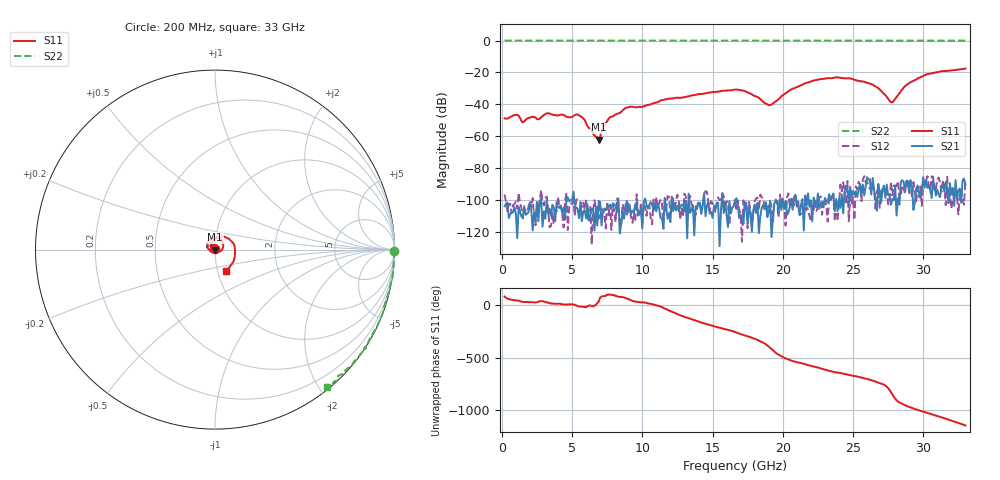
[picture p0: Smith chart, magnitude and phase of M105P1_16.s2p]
# GHZ S RI R 50
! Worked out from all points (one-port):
!   329 points, 200 MHz to 33 GHz, reference 50 ohm
!   lowest |S11| = -62.1 dB at 6.9 GHz (marker M1), VSWR 1.00, Z = 50.1 + j0.0421 ohm
!   |S11| at or under -10 dB: start of sweep to end of sweep
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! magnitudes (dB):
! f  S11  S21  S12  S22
! 200 MHz  -48.8  -103.9  -96.5  0.0
! 1.1 GHz  -46.6  -123.8  -105.2  0.0
! 1.5 GHz  -51.3  -111.0  -111.6  0.0
! 3.3 GHz  -45.5  -108.9  -106.0  0.0
! 5.7 GHz  -48.0  -113.2  -104.4  0.0
! 6.9 GHz  -62.1  -100.5  -111.5  0.0
! 7.2 GHz  -54.1  -107.1  -105.9  0.0
! 7.7 GHz  -48.1  -103.0  -102.9  0.0
! 8.9 GHz  -42.0  -100.5  -109.1  0.0
! 11.2 GHz  -38.1  -105.3  -102.0  0.0
! 16.6 GHz  -30.8  -101.9  -99.7  0.0
! 19.1 GHz  -40.5  -100.6  -100.7  0.0
! 20.5 GHz  -31.1  -104.3  -103.7  0.0
! 22.1 GHz  -25.3  -113.2  -106.2  0.0
! 23.8 GHz  -23.0  -99.3  -108.5  0.0
! 25.8 GHz  -25.8  -97.1  -84.9  0.0
! 26.8 GHz  -29.9  -89.8  -92.0  0.0
! 27.6 GHz  -37.8  -97.1  -100.6  0.0
! 27.8 GHz  -38.7  -99.3  -97.0  -0.1
! 28.8 GHz  -27.9  -88.4  -87.8  -0.1
! 30.2 GHz  -21.3  -87.5  -88.0  -0.2
! 33 GHz  -17.6  -90.3  -88.3  -0.1
